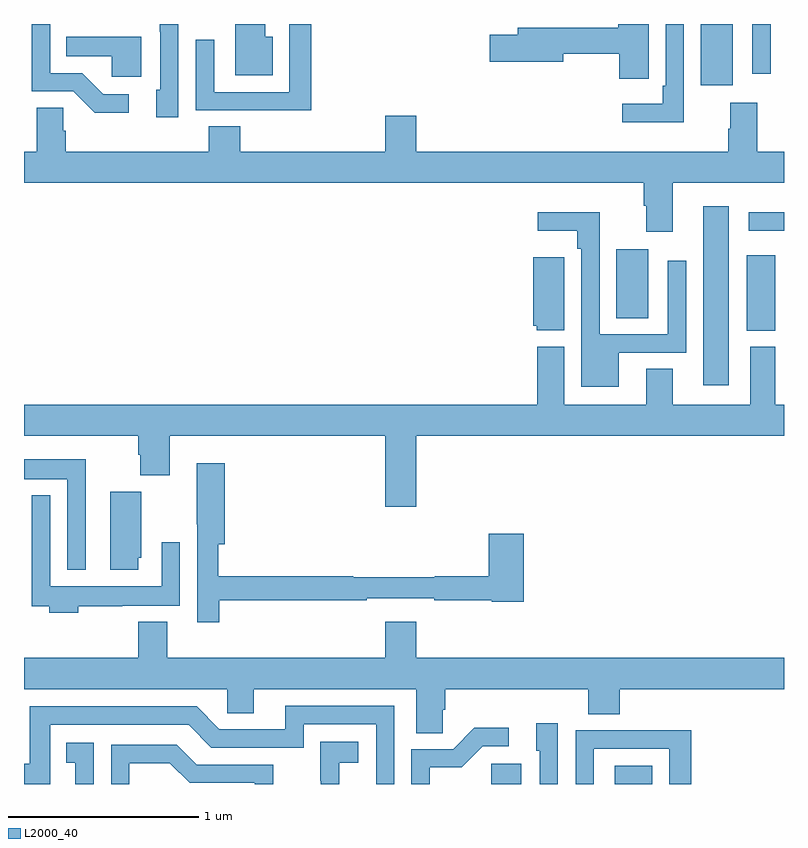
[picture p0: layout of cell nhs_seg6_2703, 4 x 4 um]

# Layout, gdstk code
import gdstk
lib = gdstk.Library(unit=1e-6, precision=1e-09)
def R(c, l, rs):  # rectangles x0, y0, x1, y1
    for r in rs: c.add(gdstk.rectangle(r[:2], r[2:], *l))
def P(c, l, *ps):  # polygons
    for p in ps: c.add(gdstk.Polygon(p, *l))
L2000_40 = (2000, 40)

nhs_seg6_2703 = lib.new_cell('nhs_seg6_2703')
R(nhs_seg6_2703, L2000_40, [(273.459,949.5,273.616,949.606), (274.109,949.5,274.306,949.597), (274.574,951.6,274.708,952.54), (274.805,951.886,274.954,952.282), (274.118,951.952,274.285,952.315), (274.815,952.412,275,952.51), (274.562,953.178,274.729,953.5), (274.833,953.238,274.929,953.5)])
P(nhs_seg6_2703, L2000_40, [(272.308,953.434),(272.269,953.434),(272.269,953.5),(272.111,953.5),(272.111,953.231),(272.308,953.231)],
  [(274.287,953.323),(274.288,953.323),(274.288,953.5),(274.127,953.5),(274.127,953.48),(273.599,953.48),(273.599,953.444),(273.45,953.444),(273.45,953.302),(273.838,953.302),(273.838,953.344),(274.132,953.344),(274.132,953.211),(274.287,953.211)],
  [(274.473,953.5),(274.377,953.5),(274.377,953.176),(274.361,953.176),(274.361,953.08),(274.149,953.08),(274.149,952.982),(274.473,952.982)],
  [(271.552,953.13),(271.417,953.13),(271.306,953.241),(271.137,953.241),(271.137,953.5),(271.041,953.5),(271.041,953.145),(271.26,953.145),(271.373,953.033),(271.552,953.033)],
  [(271.812,953.5),(271.715,953.5),(271.715,953.458),(271.716,953.458),(271.716,953.154),(271.697,953.154),(271.697,953.01),(271.812,953.01)],
  [(272.513,953.5),(272.397,953.5),(272.397,953.142),(272.001,953.142),(272.001,953.416),(271.905,953.416),(271.905,953.046),(272.221,953.046),(272.221,953.045),(272.513,953.045)],
  [(271.618,953.434),(271.222,953.434),(271.222,953.33),(271.461,953.33),(271.461,953.222),(271.618,953.222)],
  [(274.414,952.664),(275,952.664),(275,952.828),(274.858,952.828),(274.858,953.086),(274.718,953.086),(274.718,952.949),(274.706,952.949),(274.706,952.828),(273.064,952.828),(273.064,953.017),(272.9,953.017),(272.9,952.828),(272.138,952.828),(272.138,952.961),(271.973,952.961),(271.973,952.828),(271.22,952.828),(271.22,952.937),(271.206,952.937),(271.206,953.06),(271.067,953.06),(271.067,952.828),(271,952.828),(271,952.664),(274.262,952.664),(274.262,952.544),(274.274,952.544),(274.274,952.407),(274.414,952.407)],
  [(274.129,951.771),(274.485,951.771),(274.485,952.255),(274.389,952.255),(274.389,951.867),(274.029,951.867),(274.029,952.51),(273.705,952.51),(273.705,952.412),(273.913,952.412),(273.913,952.316),(273.933,952.316),(273.933,951.59),(274.129,951.59)],
  [(273.844,952.273),(273.68,952.273),(273.68,951.912),(273.699,951.912),(273.699,951.887),(273.844,951.887)],
  [(271,951.332),(271.601,951.332),(271.601,951.233),(271.613,951.233),(271.613,951.124),(271.766,951.124),(271.766,951.332),(272.9,951.332),(272.9,950.958),(273.064,950.958),(273.064,951.332),(275,951.332),(275,951.496),(274.954,951.496),(274.954,951.801),(274.823,951.801),(274.823,951.496),(274.414,951.496),(274.414,951.686),(274.274,951.686),(274.274,951.496),(273.844,951.496),(273.844,951.802),(273.701,951.802),(273.701,951.496),(271,951.496)],
  [(271.324,951.208),(271,951.208),(271,951.104),(271.227,951.104),(271.227,950.627),(271.324,950.627)],
  [(272.027,950.466),(272.804,950.466),(272.804,950.478),(273.16,950.478),(273.16,950.466),(273.462,950.466),(273.462,950.458),(273.629,950.458),(273.629,950.818),(273.446,950.818),(273.446,950.594),(273.162,950.594),(273.162,950.587),(272.733,950.587),(272.733,950.594),(272.023,950.594),(272.023,950.762),(272.057,950.762),(272.057,951.187),(271.91,951.187),(271.91,950.866),(271.911,950.866),(271.911,950.352),(272.027,950.352)],
  [(271.6,950.691),(271.618,950.691),(271.618,951.039),(271.454,951.039),(271.454,950.628),(271.6,950.628)],
  [(271.286,950.436),(271.517,950.436),(271.517,950.438),(271.821,950.438),(271.821,950.773),(271.725,950.773),(271.725,950.542),(271.137,950.542),(271.137,951.019),(271.041,951.019),(271.041,950.436),(271.133,950.436),(271.133,950.402),(271.286,950.402)],
  [(273.204,949.891),(273.218,949.891),(273.218,950),(273.971,950),(273.971,949.867),(274.136,949.867),(274.136,950),(275,950),(275,950.164),(273.064,950.164),(273.064,950.353),(272.9,950.353),(272.9,950.164),(271.753,950.164),(271.753,950.353),(271.601,950.353),(271.601,950.164),(271,950.164),(271,950),(272.07,950),(272.07,949.873),(272.209,949.873),(272.209,950),(273.065,950),(273.065,949.768),(273.204,949.768)],
  [(271.137,949.812),(271.866,949.812),(271.986,949.692),(272.472,949.692),(272.472,949.815),(272.853,949.815),(272.853,949.5),(272.949,949.5),(272.949,949.911),(272.375,949.911),(272.375,949.788),(272.028,949.788),(271.908,949.908),(271.029,949.908),(271.029,949.606),(271,949.606),(271,949.5),(271.137,949.5)],
  [(273.81,949.819),(273.695,949.819),(273.695,949.674),(273.714,949.674),(273.714,949.5),(273.81,949.5)],
  [(273.135,949.587),(273.304,949.587),(273.415,949.698),(273.55,949.698),(273.55,949.796),(273.371,949.796),(273.258,949.683),(273.039,949.683),(273.039,949.5),(273.135,949.5)],
  [(273.999,949.686),(274.395,949.686),(274.395,949.5),(274.511,949.5),(274.511,949.784),(274.219,949.784),(274.219,949.782),(273.903,949.782),(273.903,949.5),(273.999,949.5)],
  [(272.66,949.613),(272.758,949.613),(272.758,949.723),(272.56,949.723),(272.56,949.517),(272.561,949.517),(272.561,949.5),(272.66,949.5)],
  [(271.368,949.717),(271.222,949.717),(271.222,949.611),(271.271,949.611),(271.271,949.5),(271.368,949.5)],
  [(271.554,949.61),(271.768,949.61),(271.872,949.506),(272.214,949.506),(272.214,949.5),(272.313,949.5),(272.313,949.602),(271.909,949.602),(271.804,949.707),(271.458,949.707),(271.458,949.5),(271.554,949.5)])

lib.write_gds('nhs_seg6_2703.gds')
